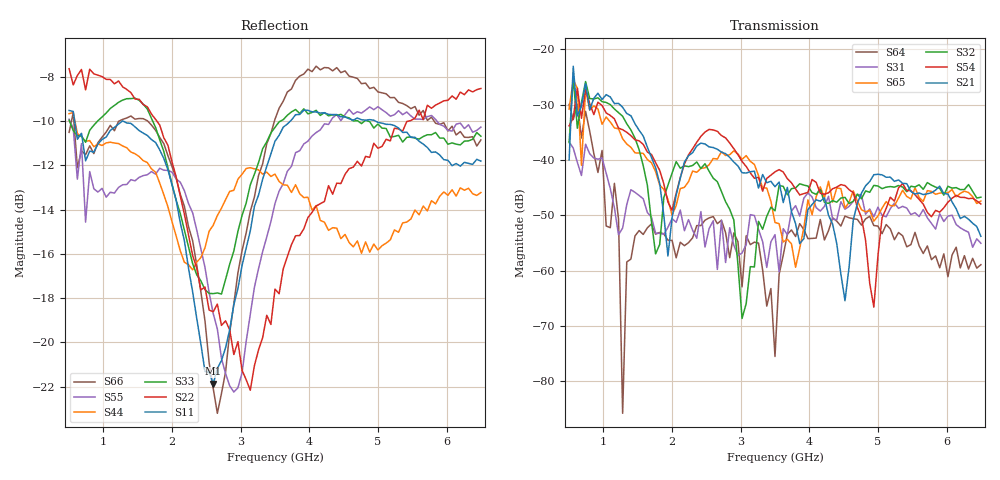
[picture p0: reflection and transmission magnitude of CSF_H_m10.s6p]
!Keysight Technologies,M9804A,MY58100912,A.14.10.03
!Date: Thursday, April 27, 2023 10:28:33
!Correction: S11(C  6-Port  )
!S12(C  6-Port  )
!S13(C  6-Port  )
!S14(C  6-Port  )
!S15(C  6-Port  )
!S16(C  6-Port  )
!S21(C  6-Port  )
!S22(C  6-Port  )
!S23(C  6-Port  )
!S24(C  6-Port  )
!S25(C  6-Port  )
!S26(C  6-Port  )
!S31(C  6-Port  )
!S32(C  6-Port  )
!S33(C  6-Port  )
!S34(C  6-Port  )
!S35(C  6-Port  )
!S36(C  6-Port  )
!S41(C  6-Port  )
!S42(C  6-Port  )
!S43(C  6-Port  )
!S44(C  6-Port  )
!S45(C  6-Port  )
!S46(C  6-Port  )
!S51(C  6-Port  )
!S52(C  6-Port  )
!S53(C  6-Port  )
!S54(C  6-Port  )
!S55(C  6-Port  )
!S56(C  6-Port  )
!S61(C  6-Port  )
!S62(C  6-Port  )
!S63(C  6-Port  )
!S64(C  6-Port  )
!S65(C  6-Port  )
!S66(C  6-Port  )
!S6P File: Measurement: :
# Hz S  RI  R 50
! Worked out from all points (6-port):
!   101 points, 500 MHz to 6.5 GHz, reference 50 ohm
!   strongest paths, dB at 500 MHz, 2 GHz, 3.5 GHz, 5 GHz, 6.5 GHz:
!     S21: -40.0, -50.5, -44.8, -42.6, -53.8
!     S54: -33.8, -49.1, -42.2, -57.3, -48.0
!     S32: -36.9, -42.4, -49.2, -44.7, -46.7
!     S65: -30.8, -50.0, -51.3, -50.1, -47.4
!     S31: -36.7, -50.6, -53.5, -48.5, -55.1
!     S64: -30.0, -54.5, -75.5, -52.0, -58.9
!   lowest |S11| = -21.9 dB at 2.6 GHz (marker M1), VSWR 1.18, Z = 42.8 + j1.93 ohm
!   |S11| at or under -10 dB: 581 MHz to 1.274 GHz (692.8 MHz wide, 74.7 % of centre); 1.29 GHz to 3.722 GHz (2.432 GHz wide, 97.1 % of centre); 4.967 GHz to end of sweep
